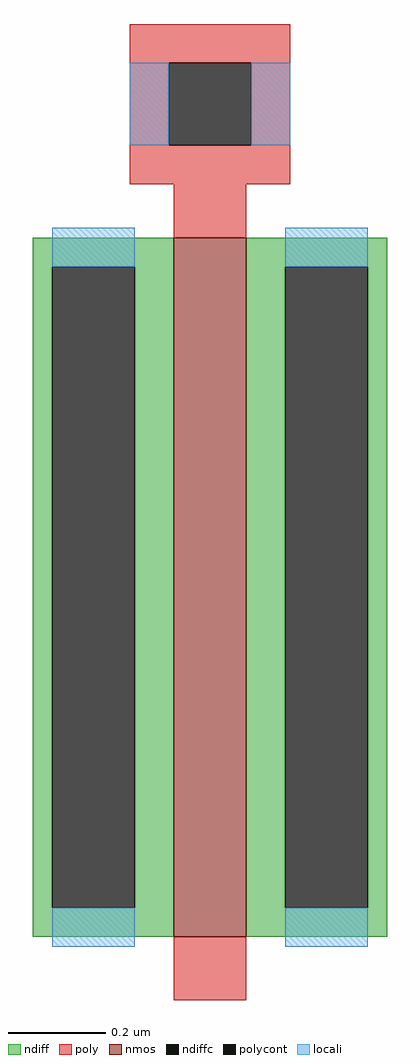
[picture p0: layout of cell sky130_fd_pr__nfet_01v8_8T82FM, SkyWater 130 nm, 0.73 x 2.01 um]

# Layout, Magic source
magic
tech sky130A
magscale 1 2
<< nmos >>
rect -15 -175 15 113
<< ndiff >>
rect -73 101 -15 113
rect -73 -163 -65 101
rect -31 -163 -15 101
rect -73 -175 -15 -163
rect 15 101 73 113
rect 15 -163 31 101
rect 65 -163 73 101
rect 15 -175 73 -163
<< ndiffc >>
rect -65 -163 -31 101
rect 31 -163 65 101
<< poly >>
rect -33 185 33 201
rect -33 151 -17 185
rect 17 151 33 185
rect -33 135 33 151
rect -15 113 15 135
rect -15 -201 15 -175
<< polycont >>
rect -17 151 17 185
<< locali >>
rect -33 151 -17 185
rect 17 151 33 185
rect -65 101 -31 117
rect -65 -179 -31 -163
rect 31 101 65 117
rect 31 -179 65 -163
<< properties >>
string gencell sky130_fd_pr__nfet_01v8
string library sky130
string parameters w 1.44 l 0.150 m 1 nf 1 diffcov 100 polycov 100 guard 0 glc 0 grc 0 gtc 0 gbc 0 tbcov 100 rlcov 100 topc 1 botc 0 poverlap 0 doverlap 1 lmin 0.15 wmin 0.42 compatible {sky130_fd_pr__nfet_01v8 sky130_fd_pr__nfet_01v8_lvt  sky130_fd_bs_flash__special_sonosfet_star  sky130_fd_pr__nfet_g5v0d10v5 sky130_fd_pr__nfet_05v0_nvt  sky130_fd_pr__nfet_03v3_nvt} full_metal 0 viasrc 40 viadrn -40 viagate 100 viagb 80 viagr 0 viagl 0 viagt 0
<< end >>
